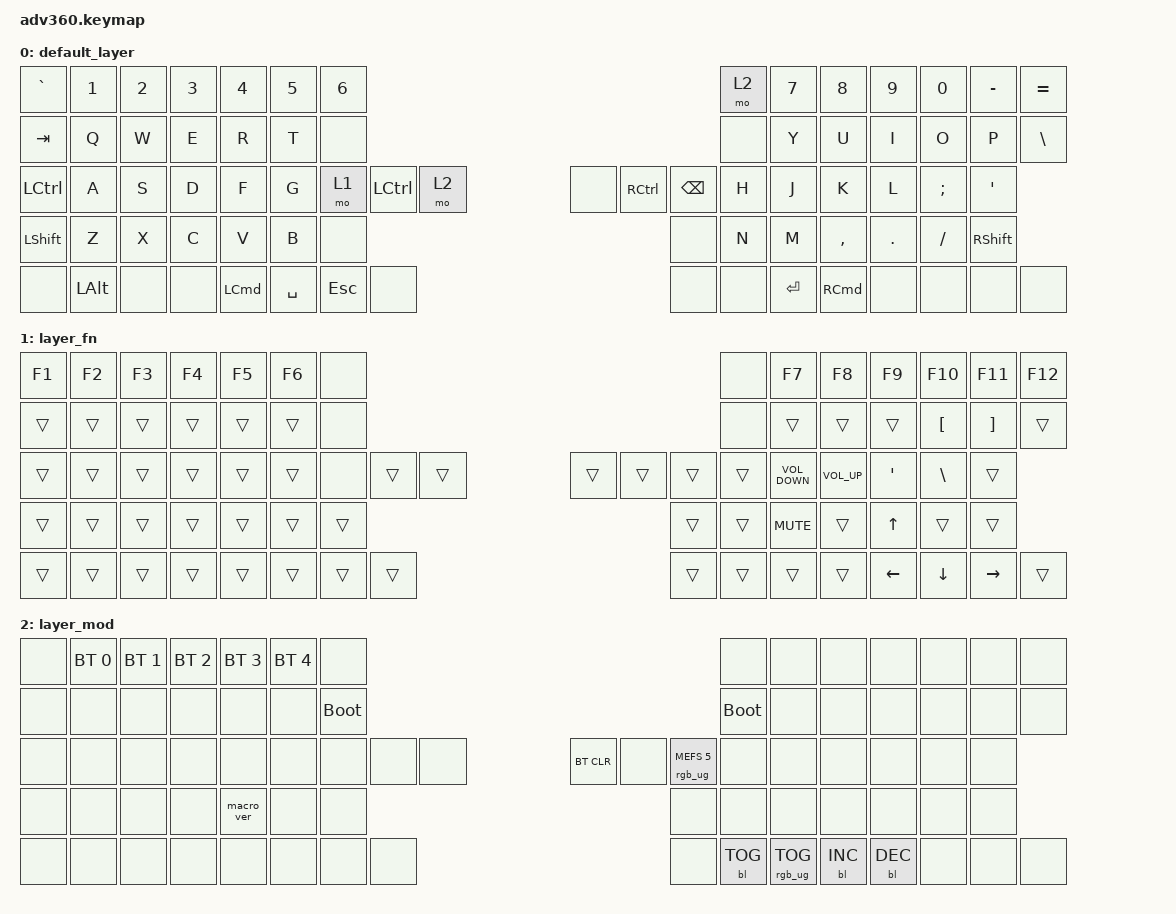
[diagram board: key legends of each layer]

/*
 * Copyright (c) 2020 The ZMK Contributors
 *
 * SPDX-License-Identifier: MIT
 */


/* THIS FILE WAS GENERATED!
 *
 * This file was generated automatically. You may or may not want to
 * edit it directly.
 */

#include <behaviors.dtsi>
#include <dt-bindings/zmk/keys.h>
#include <dt-bindings/zmk/bt.h>
#include <dt-bindings/zmk/rgb.h>
#include <dt-bindings/zmk/backlight.h>

/ {
  behaviors {
    #include "macros.dtsi"
    #include "version.dtsi"

    hm: homerow_mods {
        compatible = "zmk,behavior-hold-tap";
        label = "HOMEROW_MODS";
        #binding-cells = <2>;
        tapping-term-ms = <200>;
        quick_tap_ms = <175>;
        flavor = "tap-preferred";
        bindings = <&kp>, <&kp>;
    };
  };

    keymap {
        compatible = "zmk,keymap";


        default_layer {
            bindings = <
        &kp GRAVE        &kp N1  &kp N2  &kp N3            &kp N4  &kp N5               &kp N6                                                                 &mo 2  &kp N7       &kp NUMBER_8     &kp N9   &kp N0  &kp MINUS  &kp EQUAL
          &kp TAB         &kp Q   &kp W   &kp E             &kp R   &kp T                &none                                                                 &none   &kp Y              &kp U      &kp I    &kp O      &kp P   &kp BSLH
 &kp LEFT_CONTROL         &kp A   &kp S   &kp D             &kp F   &kp G                &mo 1   &kp LCTRL   &mo 2                   &none  &kp RCTRL  &kp BACKSPACE   &kp H              &kp J      &kp K    &kp L   &kp SEMI    &kp SQT
        &kp LSHFT         &kp Z   &kp X   &kp C             &kp V   &kp B                                    &none                   &none                             &kp N              &kp M  &kp COMMA  &kp DOT   &kp FSLH  &kp RSHFT
            &none  &kp LEFT_ALT   &none   &none  &kp LEFT_COMMAND                    &kp SPACE  &kp ESCAPE   &none                   &none      &none      &kp ENTER          &kp RIGHT_COMMAND      &none    &none      &none      &none
            >;
        };

        layer_fn {
            bindings = <
 &kp F1  &kp F2  &kp F3  &kp F4  &kp F5  &kp F6             &none                                                   &none  &kp F7             &kp F8        &kp F9           &kp F10            &kp F11  &kp F12
 &trans  &trans  &trans  &trans  &trans  &trans             &none                                                   &none  &trans             &trans        &trans  &kp LEFT_BRACKET  &kp RIGHT_BRACKET   &trans
 &trans  &trans  &trans  &trans  &trans  &trans             &none  &trans  &trans                  &trans  &trans  &trans  &trans  &kp C_VOLUME_DOWN  &kp C_VOL_UP    &kp APOSTROPHE      &kp BACKSLASH   &trans
 &trans  &trans  &trans  &trans  &trans  &trans                            &trans                  &trans                  &trans         &kp C_MUTE        &trans      &kp UP_ARROW             &trans   &trans
 &trans  &trans  &trans  &trans  &trans                    &trans  &trans  &trans                  &trans  &trans  &trans                     &trans      &kp LEFT    &kp DOWN_ARROW    &kp RIGHT_ARROW   &trans
            >;
        };

        layer_mod {
            bindings = <
  &none  &bt BT_SEL 0  &bt BT_SEL 1  &bt BT_SEL 2  &bt BT_SEL 3  &bt BT_SEL 4                  &none                                                                           &none   &none       &none       &none   &none   &none   &none
  &none         &none         &none         &none         &none         &none            &bootloader                                                                     &bootloader   &none       &none       &none   &none   &none   &none
  &none         &none         &none         &none         &none         &none                  &none   &none   &none                  &bt BT_CLR       &none  &rgb_ug RGB_MEFS_CMD 5   &none       &none       &none   &none   &none   &none
  &none         &none         &none         &none    &macro_ver         &none                                  &none                       &none                                       &none       &none       &none   &none   &none   &none
  &none         &none         &none         &none         &none                                &none   &none   &none                       &none  &bl BL_TOG         &rgb_ug RGB_TOG          &bl BL_INC  &bl BL_DEC   &none   &none   &none
            >;
        };

    };
};
